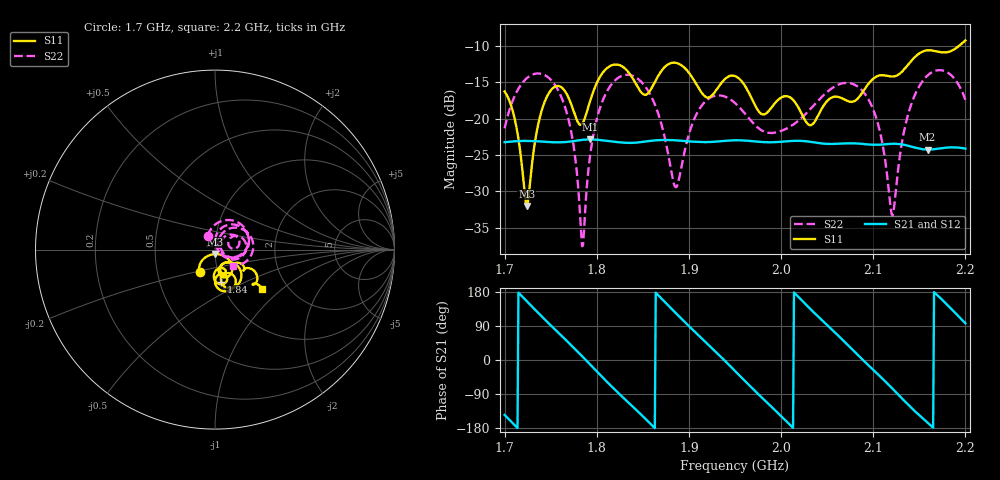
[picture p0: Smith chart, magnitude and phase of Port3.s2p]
# Hz S RI R 50
! CMT, CMT808U, 21440046, 21.4.3/4
! Date: 12/13/2025 10:45:47 PM
! Data: Format (Calibration Info)
! Freq	S11:Re/Im(F2)	S41:Re/Im(F2)	S14:Re/Im(F2)	S44:Re/Im(F2)
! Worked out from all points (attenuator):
!   501 points, 1.7 GHz to 2.2 GHz, reference 50 ohm
!   highest |S21| = -22.87 dB at 1.793 GHz (marker M1); lowest = -24.3 dB at 2.159 GHz (marker M2)
!   lowest |S11| = -32.0 dB at 1.724 GHz (marker M3), VSWR 1.05, Z = 50 - j2.51 ohm
!   |S11| at or under -10 dB: start of sweep to 2.193 GHz
!   |S22| runs from -37.5 to -13.3 dB; largest |S21 - S12| = 0.00037
!   S11 on the Smith chart (normalised r, x): 1.7 GHz: 0.82, -0.21; 1.84 GHz: 1.00, -0.38; 2.2 GHz: 1.50, -0.75
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1.7e9  -0.0854 -0.1274  -0.0563 -0.0396  -0.0561 -0.0396  -0.0402 0.0755
1.724e9  0.000226 -0.0251  -0.0638 0.0294  -0.0636 0.0292  0.0966 0.1628
1.742e9  0.0923 -0.0812  -0.0246 0.0649  -0.0247 0.0647  0.1842 0.0798
1.764e9  0.0429 -0.1528  0.0359 0.0587  0.0357 0.0587  0.1225 -0.0382
1.775e9  0.0217 -0.1099  0.0591 0.0377  0.0589 0.0377  0.0539 -0.0347
1.784e9  0.0544 -0.0739  0.0702 0.0127  0.0701 0.0128  0.0129 0.00323
1.793e9  0.1081 -0.0779  0.0701 -0.0156  0.07 -0.0155  0.00175 0.0574
1.811e9  0.1431 -0.1693  0.0378 -0.0592  0.0379 -0.059  0.0691 0.1369
1.84e9  0.0351 -0.1809  -0.0394 -0.0556  -0.0391 -0.0556  0.1895 0.0472
1.867e9  0.1135 -0.162  -0.07 0.0122  -0.0699 0.0119  0.097 -0.0444
1.886e9  0.0657 -0.2321  -0.0388 0.0592  -0.039 0.059  0.0325 0.00911
1.913e9  0.00722 -0.1529  0.0355 0.0591  0.0353 0.0591  0.0863 0.084
1.95e9  0.0319 -0.1932  0.0621 -0.0343  0.062 -0.0341  0.127 0.0151
1.988e9  0.0481 -0.105  -0.0341 -0.0596  -0.0339 -0.0596  0.076 0.0236
2.034e9  0.0553 -0.0726  -0.0435 0.0534  -0.0436 0.0532  0.0964 0.0717
2.088e9  0.1309 -0.0735  0.0669 0.00233  0.0669 0.0025  0.1513 -0.0363
2.106e9  0.1637 -0.1099  0.0508 -0.0423  0.0508 -0.0422  0.0718 -0.0504
2.117e9  0.1577 -0.1154  0.0273 -0.0611  0.0274 -0.061  0.0286 -0.0131
2.122e9  0.1605 -0.1098  0.0137 -0.0657  0.0137 -0.0656  0.0191 0.0128
2.137e9  0.2042 -0.1082  -0.0283 -0.0589  -0.0282 -0.0589  0.0425 0.0929
2.159e9  0.229 -0.1846  -0.0593 -0.0155  -0.0592 -0.0157  0.1671 0.1056
2.2e9  0.2644 -0.2198  -0.00733 0.0617  -0.00749 0.0616  0.0998 -0.0901
